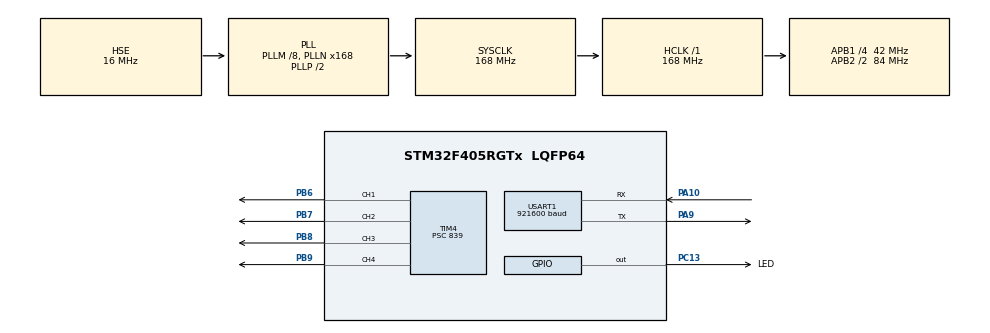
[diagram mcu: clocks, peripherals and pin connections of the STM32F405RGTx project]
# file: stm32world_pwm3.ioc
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Mcu.Family=STM32F4
Mcu.Name=STM32F405RGTx
Mcu.Package=LQFP64
Mcu.UserConstants=SAMPLE_RANGE,1000
NVIC.PriorityGroup=NVIC_PRIORITYGROUP_4
NVIC.TIM4_IRQn=true\:0\:0\:false\:false\:true\:true\:true\:true
PA10.Mode=Asynchronous
PA10.Signal=USART1_RX
PA13.Mode=Trace_Asynchronous_SW
PA13.Signal=SYS_JTMS-SWDIO
PA14.Mode=Trace_Asynchronous_SW
PA14.Signal=SYS_JTCK-SWCLK
PA9.Mode=Asynchronous
PA9.Signal=USART1_TX
PB3.Mode=Trace_Asynchronous_SW
PB3.Signal=SYS_JTDO-SWO
PB6.Signal=S_TIM4_CH1
PB7.Signal=S_TIM4_CH2
PB8.Signal=S_TIM4_CH3
PB9.Signal=S_TIM4_CH4
PC13-ANTI_TAMP.GPIO_Label=LED
PC13-ANTI_TAMP.Signal=GPIO_Output
PH0-OSC_IN.Mode=HSE-External-Oscillator
PH0-OSC_IN.Signal=RCC_OSC_IN
PH1-OSC_OUT.Mode=HSE-External-Oscillator
PH1-OSC_OUT.Signal=RCC_OSC_OUT
ProjectManager.HeapSize=0x200
ProjectManager.StackSize=0x400
ProjectManager.TargetToolchain=STM32CubeIDE
RCC.48MHZClocksFreq_Value=84000000
RCC.AHBFreq_Value=168000000
RCC.APB1CLKDivider=RCC_HCLK_DIV4
RCC.APB1Freq_Value=42000000
RCC.APB1TimFreq_Value=84000000
RCC.APB2CLKDivider=RCC_HCLK_DIV2
RCC.APB2Freq_Value=84000000
RCC.APB2TimFreq_Value=168000000
RCC.CortexFreq_Value=168000000
RCC.HCLKFreq_Value=168000000
RCC.HSE_VALUE=16000000
RCC.HSI_VALUE=16000000
RCC.LSE_VALUE=32768
RCC.PLLM=8
RCC.PLLN=168
RCC.PLLSourceVirtual=RCC_PLLSOURCE_HSE
RCC.SYSCLKFreq_VALUE=168000000
RCC.SYSCLKSource=RCC_SYSCLKSOURCE_PLLCLK
RCC.VCOOutputFreq_Value=336000000
SH.S_TIM4_CH1.0=TIM4_CH1,PWM Generation1 CH1
SH.S_TIM4_CH2.0=TIM4_CH2,PWM Generation2 CH2
SH.S_TIM4_CH3.0=TIM4_CH3,PWM Generation3 CH3
SH.S_TIM4_CH4.0=TIM4_CH4,PWM Generation4 CH4
TIM4.Channel-PWM\ Generation1\ CH1=TIM_CHANNEL_1
TIM4.Channel-PWM\ Generation2\ CH2=TIM_CHANNEL_2
TIM4.Channel-PWM\ Generation3\ CH3=TIM_CHANNEL_3
TIM4.Channel-PWM\ Generation4\ CH4=TIM_CHANNEL_4
TIM4.OCPolarity_1=TIM_OCPOLARITY_LOW
TIM4.OCPolarity_2=TIM_OCPOLARITY_LOW
TIM4.OCPolarity_3=TIM_OCPOLARITY_LOW
TIM4.OCPolarity_4=TIM_OCPOLARITY_LOW
TIM4.Period=SAMPLE_RANGE - 1
TIM4.Prescaler=839
USART1.BaudRate=921600
USART1.VirtualMode=VM_ASYNC
VP_TIM4_VS_ClockSourceINT.Mode=Internal
board=custom

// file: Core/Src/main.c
/* USER CODE BEGIN Header */
/**
 ******************************************************************************
 * @file           : main.c
 * @brief          : Main program body
 ******************************************************************************
 * @attention
 *
 * Copyright (c) 2024 STM32World <lth@stm32world.com>
 * All rights reserved.
 *
 * This software is licensed under terms that can be found in the LICENSE file
 * in the root directory of this software component.
 * If no LICENSE file comes with this software, it is provided AS-IS.
 *
 ******************************************************************************
 */
/* USER CODE END Header */
#include "main.h"

/* USER CODE BEGIN Includes */
#include <stdio.h>
#include <math.h>
/* USER CODE END Includes */

/* USER CODE BEGIN PD */
#define SAMPLE_DELAY 10
#define SAMPLE_FREQ (1000 / SAMPLE_DELAY)
#define SAMPLE_MID (SAMPLE_RANGE / 2)
/* USER CODE END PD */

TIM_HandleTypeDef htim4;

UART_HandleTypeDef huart1;

/* USER CODE BEGIN PV */

uint32_t cb_cnt = 0;

uint32_t led_channels[] = {
TIM_CHANNEL_1,
TIM_CHANNEL_2,
TIM_CHANNEL_3,
TIM_CHANNEL_4
};

float angles[] = {
        0,
        0,
        0,
        0
};

float angle_changes[] = {
        1 * (2 * M_PI / SAMPLE_FREQ),
        2 * (2 * M_PI / SAMPLE_FREQ),
        0.5 * (2 * M_PI / SAMPLE_FREQ),
        0.25 * (2 * M_PI / SAMPLE_FREQ)
};

/* USER CODE END PV */

void SystemClock_Config(void);
static void MX_GPIO_Init(void);
static void MX_USART1_UART_Init(void);
static void MX_TIM4_Init(void);

/* USER CODE BEGIN 0 */

// Send printf to uart1
int _write(int fd, char *ptr, int len) {
    HAL_StatusTypeDef hstatus;

    if (fd == 1 || fd == 2) {
        hstatus = HAL_UART_Transmit(&huart1, (uint8_t*) ptr, len, HAL_MAX_DELAY);
        if (hstatus == HAL_OK)
            return len;
        else
            return -1;
    }
    return -1;
}

inline void HAL_TIM_PWM_PulseFinishedCallback(TIM_HandleTypeDef *htim) {
    if (htim->Instance == TIM4) {

        for (int i = 0; i < sizeof(angles) / sizeof(angles[0]); ++i) {

            angles[i] += angle_changes[i];

            if (angles[i] >= 2 * M_PI)
                angles[i] -= (2 * M_PI);

            __HAL_TIM_SET_COMPARE(&htim4, led_channels[i], SAMPLE_MID - (SAMPLE_MID * sin(angles[i]) ));
        }

        ++cb_cnt;
    }
}

/* USER CODE END 0 */

int main(void)
{

    /* MCU Configuration--------------------------------------------------------*/

    /* Reset of all peripherals, Initializes the Flash interface and the Systick. */
    HAL_Init();

    /* Configure the system clock */
    SystemClock_Config();

    /* Initialize all configured peripherals */
    MX_GPIO_Init();
    MX_USART1_UART_Init();
    MX_TIM4_Init();
    /* USER CODE BEGIN 2 */

    printf("\n\n\n\n-------------\nStarting pwm2\n");

    printf("Starting timer channels\n");
    HAL_TIM_PWM_Start_IT(&htim4, TIM_CHANNEL_1);
    HAL_TIM_PWM_Start(&htim4, TIM_CHANNEL_2);
    HAL_TIM_PWM_Start(&htim4, TIM_CHANNEL_3);
    HAL_TIM_PWM_Start(&htim4, TIM_CHANNEL_4);

    /* USER CODE END 2 */

    /* Infinite loop */
    /* USER CODE BEGIN WHILE */

    uint16_t pwm_value = 0;
    int8_t pwm_change = 1;

    uint32_t now = 0, loop_cnt = 0, next_tick = 1000, next_change = 0, next_sample = SAMPLE_DELAY;

    while (1) {

        now = uwTick;

        if (now >= next_tick) {

            printf("Tick %lu (loop = %lu cb = %lu)\n", now / 1000, loop_cnt, cb_cnt);

            loop_cnt = 0;
            next_tick = now + 1000;
        }

        ++loop_cnt;

        /* USER CODE END WHILE */

    }
}

void SystemClock_Config(void)
{
    RCC_OscInitTypeDef RCC_OscInitStruct = { 0 };
    RCC_ClkInitTypeDef RCC_ClkInitStruct = { 0 };

    /** Configure the main internal regulator output voltage
     */
    __HAL_RCC_PWR_CLK_ENABLE();
    __HAL_PWR_VOLTAGESCALING_CONFIG(PWR_REGULATOR_VOLTAGE_SCALE1);

    /** Initializes the RCC Oscillators according to the specified parameters
     * in the RCC_OscInitTypeDef structure.
     */
    RCC_OscInitStruct.OscillatorType = RCC_OSCILLATORTYPE_HSE;
    RCC_OscInitStruct.HSEState = RCC_HSE_ON;
    RCC_OscInitStruct.PLL.PLLState = RCC_PLL_ON;
    RCC_OscInitStruct.PLL.PLLSource = RCC_PLLSOURCE_HSE;
    RCC_OscInitStruct.PLL.PLLM = 8;
    RCC_OscInitStruct.PLL.PLLN = 168;
    RCC_OscInitStruct.PLL.PLLP = RCC_PLLP_DIV2;
    RCC_OscInitStruct.PLL.PLLQ = 4;
    if (HAL_RCC_OscConfig(&RCC_OscInitStruct) != HAL_OK)
            {
        Error_Handler();
    }

    /** Initializes the CPU, AHB and APB buses clocks
     */
    RCC_ClkInitStruct.ClockType = RCC_CLOCKTYPE_HCLK | RCC_CLOCKTYPE_SYSCLK
            | RCC_CLOCKTYPE_PCLK1 | RCC_CLOCKTYPE_PCLK2;
    RCC_ClkInitStruct.SYSCLKSource = RCC_SYSCLKSOURCE_PLLCLK;
    RCC_ClkInitStruct.AHBCLKDivider = RCC_SYSCLK_DIV1;
    RCC_ClkInitStruct.APB1CLKDivider = RCC_HCLK_DIV4;
    RCC_ClkInitStruct.APB2CLKDivider = RCC_HCLK_DIV2;

    if (HAL_RCC_ClockConfig(&RCC_ClkInitStruct, FLASH_LATENCY_5) != HAL_OK)
            {
        Error_Handler();
    }
}

static void MX_TIM4_Init(void)
{

    TIM_ClockConfigTypeDef sClockSourceConfig = { 0 };
    TIM_MasterConfigTypeDef sMasterConfig = { 0 };
    TIM_OC_InitTypeDef sConfigOC = { 0 };

    htim4.Instance = TIM4;
    htim4.Init.Prescaler = 839;
    htim4.Init.CounterMode = TIM_COUNTERMODE_UP;
    htim4.Init.Period = SAMPLE_RANGE - 1;
    htim4.Init.ClockDivision = TIM_CLOCKDIVISION_DIV1;
    htim4.Init.AutoReloadPreload = TIM_AUTORELOAD_PRELOAD_DISABLE;
    if (HAL_TIM_Base_Init(&htim4) != HAL_OK)
            {
        Error_Handler();
    }
    sClockSourceConfig.ClockSource = TIM_CLOCKSOURCE_INTERNAL;
    if (HAL_TIM_ConfigClockSource(&htim4, &sClockSourceConfig) != HAL_OK)
            {
        Error_Handler();
    }
    if (HAL_TIM_PWM_Init(&htim4) != HAL_OK)
            {
        Error_Handler();
    }
    sMasterConfig.MasterOutputTrigger = TIM_TRGO_RESET;
    sMasterConfig.MasterSlaveMode = TIM_MASTERSLAVEMODE_DISABLE;
    if (HAL_TIMEx_MasterConfigSynchronization(&htim4, &sMasterConfig) != HAL_OK)
            {
        Error_Handler();
    }
    sConfigOC.OCMode = TIM_OCMODE_PWM1;
    sConfigOC.Pulse = 0;
    sConfigOC.OCPolarity = TIM_OCPOLARITY_LOW;
    sConfigOC.OCFastMode = TIM_OCFAST_DISABLE;
    if (HAL_TIM_PWM_ConfigChannel(&htim4, &sConfigOC, TIM_CHANNEL_1) != HAL_OK)
            {
        Error_Handler();
    }
    if (HAL_TIM_PWM_ConfigChannel(&htim4, &sConfigOC, TIM_CHANNEL_2) != HAL_OK)
            {
        Error_Handler();
    }
    if (HAL_TIM_PWM_ConfigChannel(&htim4, &sConfigOC, TIM_CHANNEL_3) != HAL_OK)
            {
        Error_Handler();
    }
    if (HAL_TIM_PWM_ConfigChannel(&htim4, &sConfigOC, TIM_CHANNEL_4) != HAL_OK)
            {
        Error_Handler();
    }
    HAL_TIM_MspPostInit(&htim4);

}

static void MX_USART1_UART_Init(void)
{

    huart1.Instance = USART1;
    huart1.Init.BaudRate = 921600;
    huart1.Init.WordLength = UART_WORDLENGTH_8B;
    huart1.Init.StopBits = UART_STOPBITS_1;
    huart1.Init.Parity = UART_PARITY_NONE;
    huart1.Init.Mode = UART_MODE_TX_RX;
    huart1.Init.HwFlowCtl = UART_HWCONTROL_NONE;
    huart1.Init.OverSampling = UART_OVERSAMPLING_16;
    if (HAL_UART_Init(&huart1) != HAL_OK)
            {
        Error_Handler();
    }

}

static void MX_GPIO_Init(void)
{
    GPIO_InitTypeDef GPIO_InitStruct = { 0 };

    /* GPIO Ports Clock Enable */
    __HAL_RCC_GPIOC_CLK_ENABLE();
    __HAL_RCC_GPIOH_CLK_ENABLE();
    __HAL_RCC_GPIOA_CLK_ENABLE();
    __HAL_RCC_GPIOB_CLK_ENABLE();

    /*Configure GPIO pin Output Level */
    HAL_GPIO_WritePin(LED_GPIO_Port, LED_Pin, GPIO_PIN_RESET);

    /*Configure GPIO pin : LED_Pin */
    GPIO_InitStruct.Pin = LED_Pin;
    GPIO_InitStruct.Mode = GPIO_MODE_OUTPUT_PP;
    GPIO_InitStruct.Pull = GPIO_NOPULL;
    GPIO_InitStruct.Speed = GPIO_SPEED_FREQ_LOW;
    HAL_GPIO_Init(LED_GPIO_Port, &GPIO_InitStruct);

}

void Error_Handler(void)
{
    __disable_irq();
    while (1)
    {
    }
}
